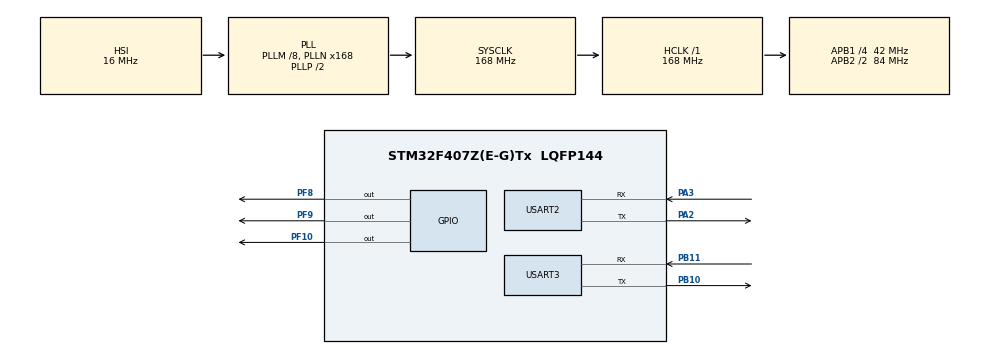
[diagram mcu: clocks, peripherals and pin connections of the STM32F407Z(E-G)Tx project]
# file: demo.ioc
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Dma.Request0=USART3_TX
Dma.Request1=USART3_RX
Dma.USART3_RX.1.Direction=DMA_PERIPH_TO_MEMORY
Dma.USART3_RX.1.FIFOMode=DMA_FIFOMODE_DISABLE
Dma.USART3_RX.1.Instance=DMA1_Stream1
Dma.USART3_RX.1.MemDataAlignment=DMA_MDATAALIGN_BYTE
Dma.USART3_RX.1.MemInc=DMA_MINC_ENABLE
Dma.USART3_RX.1.Mode=DMA_NORMAL
Dma.USART3_RX.1.PeriphDataAlignment=DMA_PDATAALIGN_BYTE
Dma.USART3_RX.1.PeriphInc=DMA_PINC_DISABLE
Dma.USART3_RX.1.Priority=DMA_PRIORITY_LOW
Dma.USART3_TX.0.Direction=DMA_MEMORY_TO_PERIPH
Dma.USART3_TX.0.FIFOMode=DMA_FIFOMODE_DISABLE
Dma.USART3_TX.0.Instance=DMA1_Stream3
Dma.USART3_TX.0.MemDataAlignment=DMA_MDATAALIGN_BYTE
Dma.USART3_TX.0.MemInc=DMA_MINC_ENABLE
Dma.USART3_TX.0.Mode=DMA_NORMAL
Dma.USART3_TX.0.PeriphDataAlignment=DMA_PDATAALIGN_BYTE
Dma.USART3_TX.0.PeriphInc=DMA_PINC_DISABLE
Dma.USART3_TX.0.Priority=DMA_PRIORITY_LOW
Mcu.Family=STM32F4
Mcu.Name=STM32F407Z(E-G)Tx
Mcu.Package=LQFP144
NVIC.DMA1_Stream1_IRQn=true\:0\:0\:false\:false\:true\:false\:true\:true
NVIC.DMA1_Stream3_IRQn=true\:0\:0\:false\:false\:true\:false\:true\:true
NVIC.PriorityGroup=NVIC_PRIORITYGROUP_4
NVIC.USART2_IRQn=true\:0\:0\:false\:false\:true\:true\:true\:true
NVIC.USART3_IRQn=true\:0\:0\:false\:false\:true\:true\:true\:true
PA13.Mode=Serial_Wire
PA13.Signal=SYS_JTMS-SWDIO
PA14.Mode=Serial_Wire
PA14.Signal=SYS_JTCK-SWCLK
PA2.Mode=Asynchronous
PA2.Signal=USART2_TX
PA3.Mode=Asynchronous
PA3.Signal=USART2_RX
PB10.Mode=Asynchronous
PB10.Signal=USART3_TX
PB11.Mode=Asynchronous
PB11.Signal=USART3_RX
PF10.Signal=GPIO_Output
PF8.Signal=GPIO_Output
PF9.Signal=GPIO_Output
PH0-OSC_IN.Mode=HSE-External-Oscillator
PH0-OSC_IN.Signal=RCC_OSC_IN
PH1-OSC_OUT.Mode=HSE-External-Oscillator
PH1-OSC_OUT.Signal=RCC_OSC_OUT
ProjectManager.HeapSize=0x200
ProjectManager.StackSize=0x400
ProjectManager.TargetToolchain=MDK-ARM V5.32
RCC.48MHZClocksFreq_Value=84000000
RCC.AHBFreq_Value=168000000
RCC.APB1CLKDivider=RCC_HCLK_DIV4
RCC.APB1Freq_Value=42000000
RCC.APB1TimFreq_Value=84000000
RCC.APB2CLKDivider=RCC_HCLK_DIV2
RCC.APB2Freq_Value=84000000
RCC.APB2TimFreq_Value=168000000
RCC.CortexFreq_Value=168000000
RCC.HCLKFreq_Value=168000000
RCC.HSE_VALUE=25000000
RCC.HSI_VALUE=16000000
RCC.LSE_VALUE=32768
RCC.PLLM=8
RCC.PLLN=168
RCC.SYSCLKFreq_VALUE=168000000
RCC.SYSCLKSource=RCC_SYSCLKSOURCE_PLLCLK
RCC.VCOOutputFreq_Value=336000000
USART2.VirtualMode=VM_ASYNC
USART3.VirtualMode=VM_ASYNC
board=custom

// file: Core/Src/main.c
/* USER CODE BEGIN Header */
/**
  ******************************************************************************
  * @file           : main.c
  * @brief          : Main program body
  ******************************************************************************
  * @attention
  *
  * Copyright (c) 2026 STMicroelectronics.
  * All rights reserved.
  *
  * This software is licensed under terms that can be found in the LICENSE file
  * in the root directory of this software component.
  * If no LICENSE file comes with this software, it is provided AS-IS.
  *
  ******************************************************************************
  */
/* USER CODE END Header */
#include "main.h"
#include "dma.h"
#include "usart.h"
#include "gpio.h"

/* USER CODE BEGIN Includes */
#include "stdio.h"
#include "string.h"

#include "tjc.h"
#include "clc.h"
#include "path.h"
#define FRAME_LENGTH 7

 int path[200];
 char path8[100];
 int forbidden[] = {42, 43, 44};
 int len;
 int flag=0;
 char message[2]="ok";
 int temp=0;
 uint8_t animal[5]={0};
 uint8_t num[5]={0};
 uint8_t count=0;
 char txt[19];
 char val[13];
 uint8_t position=0;
 char objname[5]=" ";
/* USER CODE END Includes */

void SystemClock_Config(void);

/* USER CODE BEGIN 0 */

size_t int_to_uint8(const int *path_int, size_t len, char *path8) {
    for (size_t i = 0; i < len; i++) {
        if (path_int[i] < 0 || path_int[i] > 255) {
            // ��ֵ���� uint8 ��Χ����ֹ���
            path8[i] = 0; // ���߸�����Ҫ����
        } else {
            path8[i] = (char)path_int[i];
        }
    }
    return len;
}

void HAL_UARTEx_RxEventCallback(UART_HandleTypeDef *huart,uint16_t Size)
{
	if(huart==&huart3)
	{
		if(receiveData[0]==0xAA)
		{
			if(receiveData[1]==0x01)
			{
				flag=2;
				temp=(int)receiveData[2];
				forbidden[count]=temp;
				count++;
				if(count>2)
				{
					count=0;
				}
				HAL_UART_Transmit_IT(&huart3,(uint8_t*)forbidden,sizeof(forbidden));
			}
			else if(receiveData[1]==0x02)
			{
				flag=1;
			}

		}
		HAL_UARTEx_ReceiveToIdle_IT(&huart3,receiveData,sizeof(receiveData));

	}
	else if(huart==&huart2)
	{
		if(receiveData[0]==0xAA)
		{
			if(receiveData[1]==0x03)
			{
				flag=3;
				uint8_t tem=receiveData[2]-receiveData[2]/10-9;
				int n = snprintf(txt, sizeof(txt),
                         "b%d.txt=\"%d%d%d%d%d\"\xff\xff\xff",
				tem,receiveData[3],receiveData[4],receiveData[5],receiveData[6],receiveData[7]);
				HAL_UART_Transmit(&huart3,(uint8_t*)txt,n,100);

				if(tem!=position)
				{
				  for(int i=0;i<5;i++)
		         {
				  animal[i]+=num[i];

				  int s = snprintf(val, sizeof(val), "n%d.val=%d\xff\xff\xff",12+i,animal[i]);
				  HAL_UART_Transmit(&huart3,(uint8_t*)val,s,100);
		         }

				position=tem;
			 }

			 for(int i=0;i<5;i++)
				{
					num[i]=receiveData[i+3];
				}
			}
		}
		HAL_UARTEx_ReceiveToIdle_IT(&huart2,receiveData,sizeof(receiveData));
	}

}
/* USER CODE END 0 */

int main(void)
{

  /* MCU Configuration--------------------------------------------------------*/

  /* Reset of all peripherals, Initializes the Flash interface and the Systick. */
  HAL_Init();

  /* Configure the system clock */
  SystemClock_Config();

  /* Initialize all configured peripherals */
  MX_GPIO_Init();
  MX_DMA_Init();
  MX_USART2_UART_Init();
  MX_USART3_UART_Init();
  /* USER CODE BEGIN 2 */

  	initRingBuffer();		//��ʼ�����λ�����
	int a = 100;
	char str[100];
	uint32_t nowtime = HAL_GetTick();
	HAL_UARTEx_ReceiveToIdle_IT(&huart3,receiveData,sizeof(receiveData));
	HAL_UARTEx_ReceiveToIdle_IT(&huart2,receiveData,sizeof(receiveData));

  /* USER CODE END 2 */

  /* Infinite loop */
  /* USER CODE BEGIN WHILE */
  while (1)
  {
	 if(flag==1)
	 {
		 HAL_GPIO_WritePin(GPIOF,GPIO_PIN_8,GPIO_PIN_SET);
		 HAL_Delay(50);
		 HAL_GPIO_WritePin(GPIOF,GPIO_PIN_8,GPIO_PIN_RESET);
		 HAL_Delay(50);
		 solve_path_return_start(19, forbidden, 3, path, &len);
		 path_to_gui_lines(path, len);
		 HAL_GPIO_WritePin(GPIOF,GPIO_PIN_8,GPIO_PIN_SET);
		 HAL_Delay(50);
		 HAL_GPIO_WritePin(GPIOF,GPIO_PIN_8,GPIO_PIN_RESET);
		 HAL_Delay(50);
		 HAL_GPIO_WritePin(GPIOF,GPIO_PIN_8,GPIO_PIN_SET);
		 HAL_Delay(50);
		 HAL_GPIO_WritePin(GPIOF,GPIO_PIN_8,GPIO_PIN_RESET);
		 HAL_Delay(50);
		 flag=0;

	 }
	 else if(flag==2)
	 {
		 HAL_GPIO_WritePin(GPIOF,GPIO_PIN_8,GPIO_PIN_SET);
		 HAL_Delay(50);
		 HAL_GPIO_WritePin(GPIOF,GPIO_PIN_8,GPIO_PIN_RESET);
		 HAL_Delay(50);

		 flag=0;
	 }
	  else if(flag==3)
	 {
		 HAL_GPIO_WritePin(GPIOF,GPIO_PIN_8,GPIO_PIN_SET);
		 HAL_Delay(50);
		 HAL_GPIO_WritePin(GPIOF,GPIO_PIN_8,GPIO_PIN_RESET);
		 HAL_Delay(50);
		 flag=0;
	 }

    /* USER CODE END WHILE */

  }
}

void SystemClock_Config(void)
{
  RCC_OscInitTypeDef RCC_OscInitStruct = {0};
  RCC_ClkInitTypeDef RCC_ClkInitStruct = {0};

  /** Configure the main internal regulator output voltage
  */
  __HAL_RCC_PWR_CLK_ENABLE();
  __HAL_PWR_VOLTAGESCALING_CONFIG(PWR_REGULATOR_VOLTAGE_SCALE1);

  /** Initializes the RCC Oscillators according to the specified parameters
  * in the RCC_OscInitTypeDef structure.
  */
  RCC_OscInitStruct.OscillatorType = RCC_OSCILLATORTYPE_HSI;
  RCC_OscInitStruct.HSIState = RCC_HSI_ON;
  RCC_OscInitStruct.HSICalibrationValue = RCC_HSICALIBRATION_DEFAULT;
  RCC_OscInitStruct.PLL.PLLState = RCC_PLL_ON;
  RCC_OscInitStruct.PLL.PLLSource = RCC_PLLSOURCE_HSI;
  RCC_OscInitStruct.PLL.PLLM = 8;
  RCC_OscInitStruct.PLL.PLLN = 168;
  RCC_OscInitStruct.PLL.PLLP = RCC_PLLP_DIV2;
  RCC_OscInitStruct.PLL.PLLQ = 4;
  if (HAL_RCC_OscConfig(&RCC_OscInitStruct) != HAL_OK)
  {
    Error_Handler();
  }

  /** Initializes the CPU, AHB and APB buses clocks
  */
  RCC_ClkInitStruct.ClockType = RCC_CLOCKTYPE_HCLK|RCC_CLOCKTYPE_SYSCLK
                              |RCC_CLOCKTYPE_PCLK1|RCC_CLOCKTYPE_PCLK2;
  RCC_ClkInitStruct.SYSCLKSource = RCC_SYSCLKSOURCE_PLLCLK;
  RCC_ClkInitStruct.AHBCLKDivider = RCC_SYSCLK_DIV1;
  RCC_ClkInitStruct.APB1CLKDivider = RCC_HCLK_DIV4;
  RCC_ClkInitStruct.APB2CLKDivider = RCC_HCLK_DIV2;

  if (HAL_RCC_ClockConfig(&RCC_ClkInitStruct, FLASH_LATENCY_5) != HAL_OK)
  {
    Error_Handler();
  }
}

void Error_Handler(void)
{
  __disable_irq();
  while (1)
  {
  }
}
